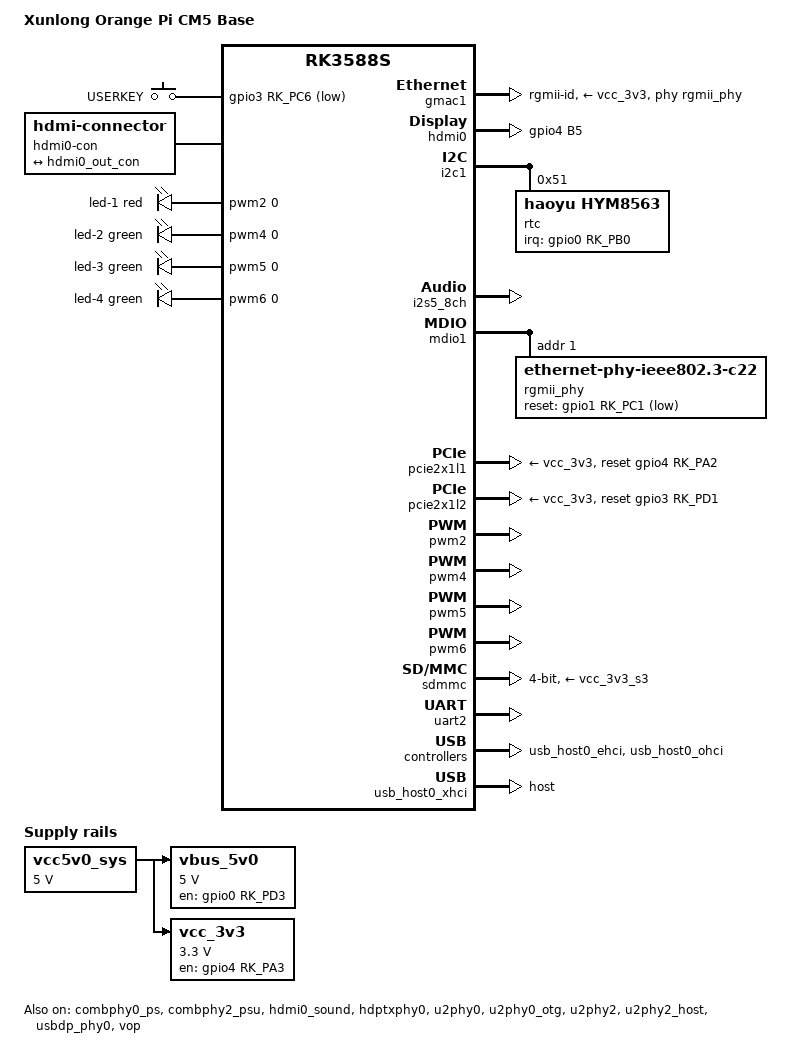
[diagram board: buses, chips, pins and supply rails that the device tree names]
// SPDX-License-Identifier: (GPL-2.0+ OR MIT)

/dts-v1/;

#include <dt-bindings/gpio/gpio.h>
#include <dt-bindings/input/input.h>
#include <dt-bindings/interrupt-controller/irq.h>
#include <dt-bindings/leds/common.h>
#include <dt-bindings/pinctrl/rockchip.h>
#include <dt-bindings/pwm/pwm.h>
#include <dt-bindings/soc/rockchip,vop2.h>

#include "rk3588s-orangepi-cm5.dtsi"

/ {
	model = "Xunlong Orange Pi CM5 Base";
	compatible = "xunlong,orangepi-cm5-base", "xunlong,orangepi-cm5", "rockchip,rk3588s";

	aliases {
		ethernet0 = &gmac1;
		mmc1 = &sdmmc;
	};

	chosen {
		stdout-path = "serial2:1500000n8";
	};

	gpio-keys {
		compatible = "gpio-keys";
		pinctrl-names = "default";
		pinctrl-0 = <&key1_pin>;

		button {
			debounce-interval = <50>;
			gpios = <&gpio3 RK_PC6 GPIO_ACTIVE_LOW>;
			label = "USERKEY";
			linux,code = <BTN_MISC>;
			wakeup-source;
		};
	};

	hdmi0-con {
		compatible = "hdmi-connector";
		type = "a";

		port {
			hdmi0_con_in: endpoint {
				remote-endpoint = <&hdmi0_out_con>;
			};
		};
	};

	pwm-leds {
		compatible = "pwm-leds";

		led-1 {
			color = <LED_COLOR_ID_RED>;
			function = LED_FUNCTION_STATUS;
			linux,default-trigger = "heartbeat";
			max-brightness = <255>;
			pwms = <&pwm2 0 25000 0>;
		};

		led-2 {
			color = <LED_COLOR_ID_GREEN>;
			function = LED_FUNCTION_WAN;
			max-brightness = <255>;
			pwms = <&pwm4 0 25000 PWM_POLARITY_INVERTED>;
		};

		led-3 {
			color = <LED_COLOR_ID_GREEN>;
			function = LED_FUNCTION_LAN;
			function-enumerator = <0>;
			max-brightness = <255>;
			pwms = <&pwm5 0 25000 PWM_POLARITY_INVERTED>;
		};

		led-4 {
			color = <LED_COLOR_ID_GREEN>;
			function = LED_FUNCTION_LAN;
			function-enumerator = <1>;
			max-brightness = <255>;
			pwms = <&pwm6 0 25000 0>;
		};
	};

	vbus_5v0: regulator-vbus-5v0 {
		compatible = "regulator-fixed";
		enable-active-high;
		gpio = <&gpio0 RK_PD3 GPIO_ACTIVE_HIGH>;
		pinctrl-names = "default";
		pinctrl-0 = <&vbus_5v0_en_pin>;
		regulator-name = "vbus_5v0";
		regulator-min-microvolt = <5000000>;
		regulator-max-microvolt = <5000000>;
		vin-supply = <&vcc5v0_sys>;
	};

	vcc_3v3: regulator-vcc-3v3 {
		compatible = "regulator-fixed";
		enable-active-high;
		gpio = <&gpio4 RK_PA3 GPIO_ACTIVE_HIGH>;
		pinctrl-names = "default";
		pinctrl-0 = <&vcc_3v3_en_pin>;
		regulator-name = "vcc_3v3";
		regulator-min-microvolt = <3300000>;
		regulator-max-microvolt = <3300000>;
		startup-delay-us = <50000>;
		vin-supply = <&vcc5v0_sys>;
	};

	vcc5v0_sys: regulator-vcc-5v0 {
		compatible = "regulator-fixed";
		regulator-name = "vcc5v0_sys";
		regulator-always-on;
		regulator-boot-on;
		regulator-min-microvolt = <5000000>;
		regulator-max-microvolt = <5000000>;
	};
};

&combphy0_ps {
	status = "okay";
};

&combphy2_psu {
	status = "okay";
};

&gmac1 {
	clock_in_out = "output";
	phy-handle = <&rgmii_phy>;
	phy-mode = "rgmii-id";
	phy-supply = <&vcc_3v3>;
	pinctrl-names = "default";
	pinctrl-0 = <&gmac1_miim
		     &gmac1_rx_bus2
		     &gmac1_tx_bus2
		     &gmac1_rgmii_clk
		     &gmac1_rgmii_bus>;
	status = "okay";
};

&hdmi0 {
	pinctrl-names = "default";
	pinctrl-0 = <&hdmim0_tx0_cec &hdmim0_tx0_hpd
		     &hdmim0_tx0_scl &hdmim0_tx0_sda
		     &hdmi_frl_pin>;
	status = "okay";
};

&hdmi0_in {
	hdmi0_in_vp0: endpoint {
		remote-endpoint = <&vp0_out_hdmi0>;
	};
};

&hdmi0_out {
	hdmi0_out_con: endpoint {
		remote-endpoint = <&hdmi0_con_in>;
	};
};

&hdmi0_sound {
	status = "okay";
};

&hdptxphy0 {
	status = "okay";
};

&i2c1 {
	pinctrl-0 = <&i2c1m2_xfer>;
	status = "okay";

	rtc@51 {
		compatible = "haoyu,hym8563";
		reg = <0x51>;
		#clock-cells = <0>;
		clock-output-names = "hym8563";
		interrupt-parent = <&gpio0>;
		interrupts = <RK_PB0 IRQ_TYPE_LEVEL_LOW>;
		pinctrl-names = "default";
		pinctrl-0 = <&rtc_int_pin>;
		wakeup-source;
	};
};

&i2s5_8ch {
	status = "okay";
};

&mdio1 {
	rgmii_phy: ethernet-phy@1 {
		/* YT8531C */
		compatible = "ethernet-phy-ieee802.3-c22";
		reg = <0x1>;
		pinctrl-names = "default";
		pinctrl-0 = <&rgmii_phy_pin>;
		reset-assert-us = <20000>;
		reset-deassert-us = <100000>;
		reset-gpios = <&gpio1 RK_PC1 GPIO_ACTIVE_LOW>;
	};
};

&pcie2x1l1 {
	reset-gpios = <&gpio4 RK_PA2 GPIO_ACTIVE_HIGH>;
	vpcie3v3-supply = <&vcc_3v3>;
	status = "okay";
};

&pcie2x1l2 {
	reset-gpios = <&gpio3 RK_PD1 GPIO_ACTIVE_HIGH>;
	vpcie3v3-supply = <&vcc_3v3>;
	status = "okay";
};

&pinctrl {
	camera {
		cam1_reset_pin: cam1-reset-pin {
			rockchip,pins = <1 RK_PD0 RK_FUNC_GPIO &pcfg_pull_none>;
		};
		cam2_reset_pin: cam2-reset-pin {
			rockchip,pins = <1 RK_PD1 RK_FUNC_GPIO &pcfg_pull_none>;
		};
		cam3_reset_pin: cam3-reset-pin {
			rockchip,pins = <1 RK_PD2 RK_FUNC_GPIO &pcfg_pull_none>;
		};
		cam4_reset_pin: cam4-reset-pin {
			rockchip,pins = <1 RK_PD3 RK_FUNC_GPIO &pcfg_pull_none>;
		};
	};

	ethernet {
		rgmii_phy_pin: rgmii-phy-pin {
			rockchip,pins = <1 RK_PC1 RK_FUNC_GPIO &pcfg_pull_none>;
		};
	};

	gpio-key {
		key1_pin: key1-pin {
			rockchip,pins = <3 RK_PC6 RK_FUNC_GPIO &pcfg_pull_up>;
		};
	};

	hdmi {
		hdmi_frl_pin: hdmi-frl-pin {
			rockchip,pins = <4 RK_PB5 RK_FUNC_GPIO &pcfg_pull_up>;
		};
	};

	power {
		vcc_3v3_en_pin: vcc-3v3-en-pin {
			rockchip,pins = <4 RK_PA3 RK_FUNC_GPIO &pcfg_pull_down>;
		};
	};

	rtc {
		rtc_int_pin: rtc-int-pin {
			rockchip,pins = <0 RK_PB0 RK_FUNC_GPIO &pcfg_pull_none>;
		};
	};

	usb {
		vbus_5v0_en_pin: vbus-5v0-en-pin {
			rockchip,pins = <0 RK_PD3 RK_FUNC_GPIO &pcfg_pull_none>;
		};
	};
};

&pwm2 {
	status = "okay";
};

&pwm4 {
	status = "okay";
};

&pwm5 {
	pinctrl-0 = <&pwm5m1_pins>;
	status = "okay";
};

&pwm6 {
	status = "okay";
};

&sdmmc {
	bus-width = <4>;
	cap-sd-highspeed;
	disable-wp;
	max-frequency = <150000000>;
	no-mmc;
	no-sdio;
	sd-uhs-sdr104;
	vmmc-supply = <&vcc_3v3_s3>;
	vqmmc-supply = <&vccio_sd_s0>;
	status = "okay";
};

&u2phy0 {
	status = "okay";
};

&u2phy0_otg {
	phy-supply = <&vbus_5v0>;
	status = "okay";
};

&u2phy2 {
	status = "okay";
};

&u2phy2_host {
	phy-supply = <&vbus_5v0>;
	status = "okay";
};

&uart2 {
	pinctrl-0 = <&uart2m0_xfer>;
	status = "okay";
};

&usb_host0_ehci {
	status = "okay";
};

&usb_host0_ohci {
	status = "okay";
};

&usb_host0_xhci {
	dr_mode = "host";
	status = "okay";
};

&usbdp_phy0 {
	status = "okay";
};

&vop {
	status = "okay";
};

&vop_mmu {
	status = "okay";
};

&vp0 {
	vp0_out_hdmi0: endpoint@ROCKCHIP_VOP2_EP_HDMI0 {
		reg = <ROCKCHIP_VOP2_EP_HDMI0>;
		remote-endpoint = <&hdmi0_in_vp0>;
	};
};
